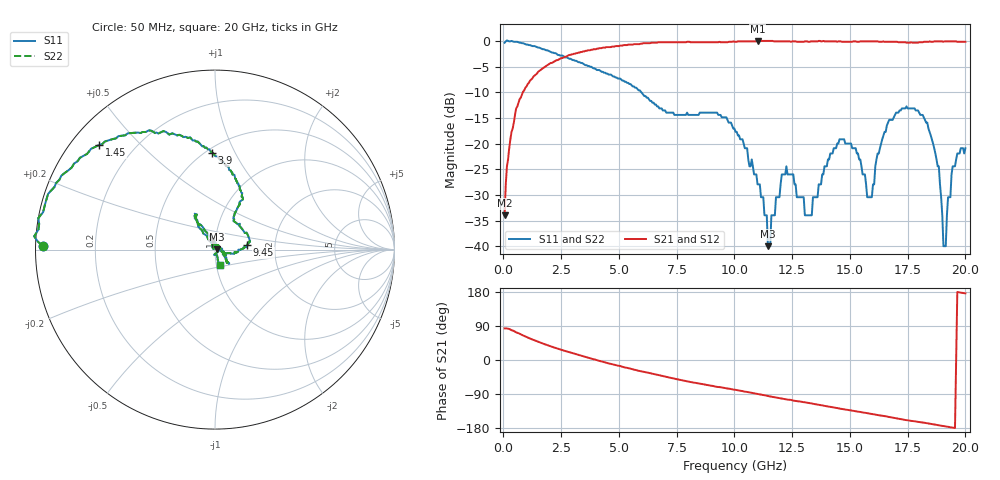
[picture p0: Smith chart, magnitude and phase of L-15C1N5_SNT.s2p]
#	mhz	s	ma	r	50
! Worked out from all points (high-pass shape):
!   400 points, 50 MHz to 20 GHz, reference 50 ohm
!   highest |S21| = 0.00 dB at 11 GHz (marker M1); lowest = -34.0 dB at 50 MHz (marker M2)
!   |S21| within 3 dB of the highest: 2.74 GHz to end of sweep
!   lowest |S11| = -40.0 dB at 11.45 GHz (marker M3), VSWR 1.02, Z = 51 + j0.214 ohm
!   |S11| at or under -10 dB: 5.969 GHz to end of sweep
!   |S22| runs from -40.0 to 0.1 dB; largest |S21 - S12| = 0
!   S11 on the Smith chart (normalised r, x): 50 MHz: 0.02, +0.01; 1.45 GHz: 0.08, +0.38; 3.9 GHz: 0.53, +0.81; 9.45 GHz: 1.43, +0.08; 20 GHz: 1.04, -0.18
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50  0.96 178.8  0.02 83.4  0.02 83.4  0.96 178.8
550  0.98 162.9  0.22 72.9  0.22 72.9  0.98 162.9
1450  0.87 138.0  0.48 49.3  0.48 49.3  0.87 138.0
3400  0.61 99.1  0.78 10.5  0.78 10.5  0.61 99.1
3900  0.54 91.9  0.83 2.0  0.83 2.0  0.54 91.9
6700  0.23 61.2  0.97 -39.8  0.97 -39.8  0.23 61.2
9450  0.18 8.7  0.97 -72.4  0.97 -72.4  0.18 8.7
10050  0.13 -0.3  0.98 -78.7  0.98 -78.7  0.13 -0.3
11000  0.04 -18.1  1 -89.8  1 -89.8  0.04 -18.1
11450  0.01 12.1  1 -94.9  1 -94.9  0.01 12.1
12250  0.06 106.7  0.99 -104.0  0.99 -104.0  0.06 106.7
13350  0.02 66.4  0.99 -114.8  0.99 -114.8  0.02 66.4
14550  0.11 -45.4  0.99 -128.3  0.99 -128.3  0.11 -45.4
15950  0.03 79.6  0.99 -142.4  0.99 -142.4  0.03 79.6
16700  0.17 122.3  0.98 -150.5  0.98 -150.5  0.17 122.3
18350  0.16 126.3  0.98 -167.0  0.98 -167.0  0.16 126.3
18850  0.06 121.9  0.99 -172.3  0.99 -172.3  0.06 121.9
19050  0.01 160.0  0.98 -174.3  0.98 -174.3  0.01 160.0
19550  0.06 -74.8  0.99 -179.6  0.99 -179.6  0.06 -74.8
19600  0.07 -74.8  0.99 -0.1  0.99 -0.1  0.07 -74.8
19650  0.08 -74.9  0.98 179.4  0.98 179.4  0.08 -74.9
20000  0.09 -71.3  0.98 175.8  0.98 175.8  0.09 -71.3
